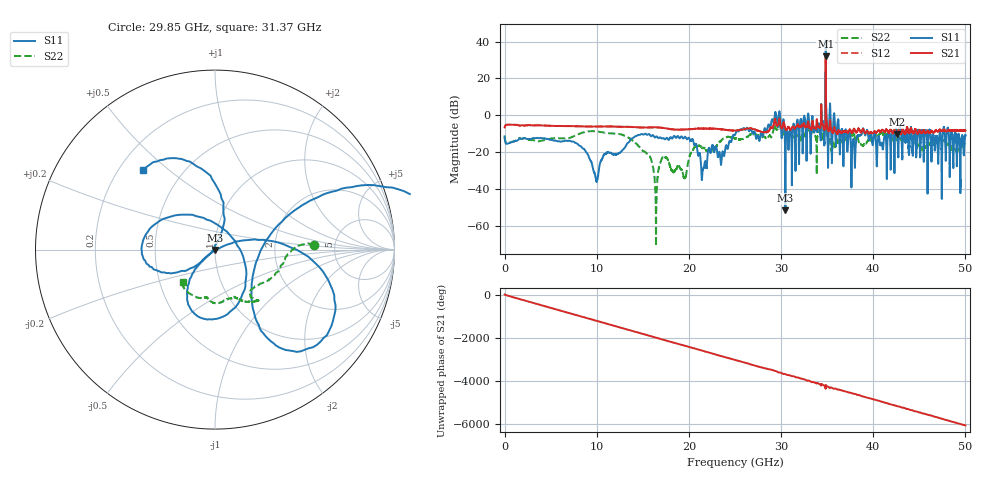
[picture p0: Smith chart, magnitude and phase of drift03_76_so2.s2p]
!Created with skrf (http://scikit-rf.org).
# Hz S RI R 50.0
!freq ReS11 ImS11 ReS21 ImS21 ReS12 ImS12 ReS22 ImS22
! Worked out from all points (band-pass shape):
!   10001 points, 300 kHz to 50 GHz, reference 50 ohm
!   highest |S21| = 31.92 dB at 34.85 GHz (marker M1); lowest = -10.3 dB at 42.55 GHz (marker M2)
!   |S21| within 3 dB of the highest: 34.84397 GHz to 34.84579 GHz (1.817 MHz wide, 0.00521 % of centre)
!   lowest |S11| = -51.4 dB at 30.47 GHz (marker M3), VSWR 1.01, Z = 50.2 - j0.194 ohm
!   |S11| at or under -10 dB: start of sweep to 15.23 GHz; 15.31 GHz to 25.05 GHz (9.739 GHz wide, 48.3 % of centre); 40.22 GHz to 41.61 GHz (1.391 GHz wide, 3.4 % of centre) (the widest 3 of 52)
!   |S22| runs from -70.9 to 23.2 dB; largest |S21 - S12| = 5.7
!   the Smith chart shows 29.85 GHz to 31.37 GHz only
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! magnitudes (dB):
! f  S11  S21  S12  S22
! 300 kHz  -11.4  -6.5  -6.4  -11.4
! 8.335 GHz  -17.1  -6.0  -6.0  -9.6
! 9.955 GHz  -35.6  -6.1  -6.1  -8.7
! 10.91 GHz  -21.0  -6.0  -6.1  -9.4
! 13.85 GHz  -12.5  -6.3  -6.3  -13.5
! 16.67 GHz  -12.3  -6.5  -6.5  -30.3
! 17.34 GHz  -12.7  -6.9  -6.9  -23.0
! 19.56 GHz  -11.6  -7.6  -7.6  -33.8
! 20.21 GHz  -13.9  -7.4  -7.5  -20.4
! 21.55 GHz  -28.8  -7.2  -7.2  -17.8
! 25 GHz  -10.6  -8.2  -8.2  -12.5
! 27.5 GHz  -11.0  -8.3  -8.3  -10.7
! 29.6 GHz  -5.5  -5.7  -5.9  -7.8
! 30.47 GHz  -51.4  -7.2  -7.1  -9.0
! 33.34 GHz  -3.8  -6.7  -6.7  -9.3
! 34.85 GHz  40.6  31.9  31.8  23.2
! 35.63 GHz  -6.5  -9.3  -9.2  -16.2
! 37.83 GHz  -12.9  -8.2  -8.2  -9.7
! 39.07 GHz  -10.2  -9.4  -9.5  -15.4
! 41.67 GHz  -9.2  -9.4  -9.3  -11.4
! 42.55 GHz  -8.4  -10.3  -10.3  -13.2
! 50 GHz  -10.8  -8.2  -8.3  -15.5
